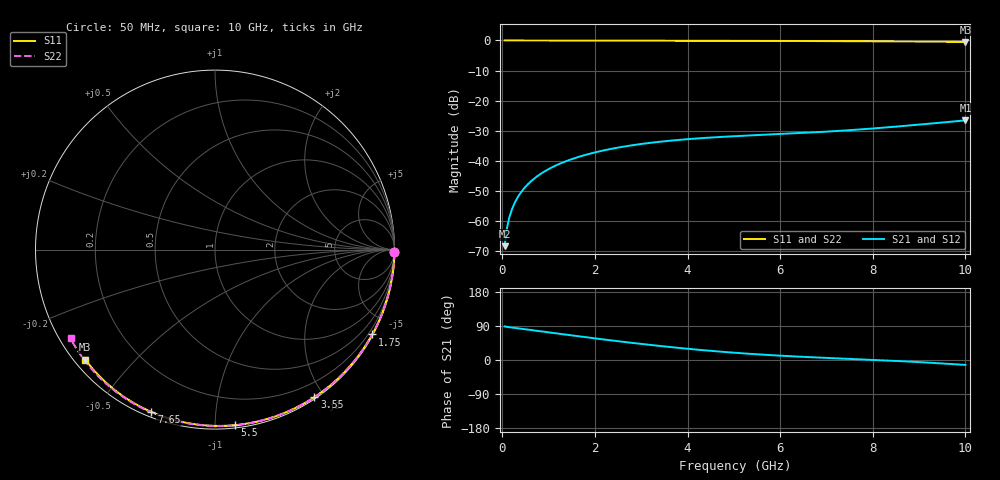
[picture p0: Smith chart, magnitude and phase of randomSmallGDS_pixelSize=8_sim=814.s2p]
! freq	dB(S11)	phase(S11)	dB(S12)	phase(S12)
!  dB(S21)	phase(S21)	dB(S22)	phase(S22)
!S-par simulation data
#  GHz  S  DB  R 50
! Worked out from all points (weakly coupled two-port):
!   200 points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, 50 MHz to 10 GHz, reference 50 ohm
!   highest |S21| = -26.56 dB at 10 GHz (marker M1); lowest = -68.4 dB at 50 MHz (marker M2)
!   lowest |S11| = -0.5 dB at 10 GHz (marker M3), VSWR 37.33, Z = 1.52 - j18.3 ohm
!   |S11| at or under -10 dB: nowhere
!   |S22| runs from -0.5 to 0.0 dB; largest |S21 - S12| = 0
!   S11 on the Smith chart (normalised r, x): 50 MHz: open; 1.75 GHz: 0.04, -3.96; 3.55 GHz: 0.02, -1.88; 5.5 GHz: 0.02, -1.12; 7.65 GHz: 0.02, -0.68; 10 GHz: 0.03, -0.37
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0.05  -0.00 -0.8  -68.36 88.6  -68.36 88.6  -0.00 -0.9
0.1  -0.00 -1.7  -62.39 87.5  -62.39 87.5  -0.00 -1.8
0.15  -0.00 -2.5  -58.93 86.5  -58.93 86.5  -0.00 -2.6
0.2  -0.00 -3.3  -56.47 85.7  -56.47 85.7  -0.00 -3.5
0.25  -0.00 -4.1  -54.57 84.9  -54.57 84.9  -0.00 -4.4
0.35  -0.00 -5.8  -51.69 83.4  -51.69 83.4  -0.00 -6.1
0.5  -0.01 -8.2  -48.64 81.0  -48.64 81.0  -0.01 -8.7
0.7  -0.01 -11.5  -45.77 77.8  -45.77 77.8  -0.01 -12.2
1  -0.02 -16.3  -42.76 73.0  -42.76 73.0  -0.02 -17.4
1.35  -0.03 -22.0  -40.28 67.3  -40.28 67.3  -0.03 -23.4
1.75  -0.04 -28.3  -38.22 61.0  -38.22 61.0  -0.04 -30.1
2.5  -0.05 -40.1  -35.60 49.6  -35.60 49.6  -0.06 -42.6
3.4  -0.07 -53.8  -33.66 37.1  -33.66 37.1  -0.08 -57.1
3.55  -0.08 -56.0  -33.42 35.1  -33.42 35.1  -0.08 -59.5
4.3  -0.10 -66.9  -32.46 26.3  -32.46 26.3  -0.10 -71.0
5.05  -0.12 -77.5  -31.78 18.8  -31.78 18.8  -0.13 -82.1
5.5  -0.14 -83.6  -31.45 15.0  -31.45 15.0  -0.14 -88.6
6.7  -0.19 -99.4  -30.56 7.2  -30.56 7.2  -0.20 -105.3
7.65  -0.25 -111.4  -29.65 2.3  -29.65 2.3  -0.27 -118.0
8.35  -0.30 -119.9  -28.82 -1.5  -28.82 -1.5  -0.32 -127.1
9.2  -0.38 -130.1  -27.69 -6.9  -27.69 -6.9  -0.40 -138.1
10  -0.47 -139.7  -26.56 -13.0  -26.56 -13.0  -0.49 -148.4
